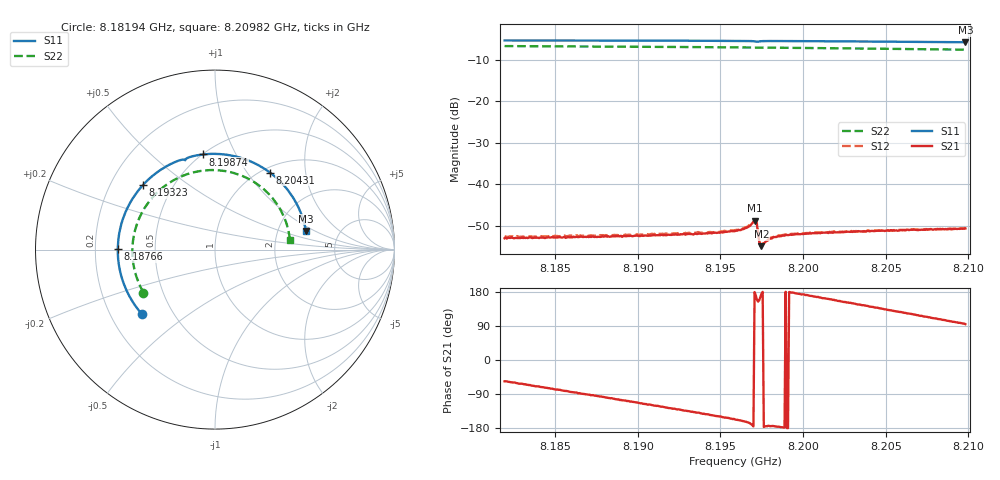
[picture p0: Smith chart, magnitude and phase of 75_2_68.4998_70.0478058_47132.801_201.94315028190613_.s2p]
#  HZ  S  RI  R  50.00
! Rohde & Schwarz Vector Network Analyzer
! Rohde-Schwarz,ZNB20-2Port,1311601062101988,3.16
! Created: UTC 3/20/2024, 5:07:04 PM
! freq[Hz]  re:S11  im:S11  re:S21  im:S21  re:S12  im:S12  re:S22  im:S22
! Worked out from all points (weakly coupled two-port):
!   401 points, 8.18194 GHz to 8.20982 GHz, reference 50 ohm
!   highest |S21| = -48.74 dB at 8.19706 GHz (marker M1); lowest = -54.9 dB at 8.19748 GHz (marker M2)
!   lowest |S11| = -5.7 dB at 8.20982 GHz (marker M3), VSWR 3.14, Z = 144 + j40.7 ohm
!   |S11| at or under -10 dB: nowhere
!   |S22| runs from -7.5 to -6.7 dB; largest |S21 - S12| = 0.00018
!   S11 on the Smith chart (normalised r, x): 8.18194 GHz: 0.33, -0.34; 8.18766 GHz: 0.30, +0.00; 8.19323 GHz: 0.34, +0.34; 8.19874 GHz: 0.50, +0.75; 8.20431 GHz: 1.08, +1.29; 8.20982 GHz: 2.88, +0.81
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8.181942e9  -0.4059 -0.3612  0.00125 -0.00186  0.0013 -0.00199  -0.3987 -0.2392
8.184381e9  -0.4968 -0.2189  0.000662 -0.00216  0.00068 -0.00227  -0.4484 -0.1132
8.186611e9  -0.5377 -0.0696  4.37e-05 -0.00235  7.05e-06 -0.00238  -0.4602 0.00997
8.187657e9  -0.5419 0.00337  -0.000232 -0.00233  -0.000312 -0.00238  -0.4541 0.0678
8.189469e9  -0.5256 0.1288  -0.000764 -0.00226  -0.000833 -0.00233  -0.4266 0.1644
8.191281e9  -0.4803 0.2472  -0.0013 -0.00208  -0.00141 -0.00212  -0.3782 0.2527
8.193232e9  -0.4019 0.3592  -0.00184 -0.00174  -0.00195 -0.00173  -0.3058 0.3334
8.19588e9  -0.2546 0.4727  -0.00252 -0.00108  -0.00261 -0.00106  -0.18 0.4109
8.196507e9  -0.2134 0.4917  -0.00285 -0.000904  -0.00293 -0.000792  -0.1468 0.4226
8.197065e9  -0.172 0.5011  -0.00366 5.27e-05  -0.00372 0.00022  -0.1163 0.431
8.197134e9  -0.1677 0.4994  -0.00358 0.000602  -0.00361 0.000754  -0.1125 0.4319
8.197413e9  -0.1603 0.5065  -0.00177 0.00043  -0.00179 0.000484  -0.0975 0.4352
8.197483e9  -0.1554 0.5096  -0.00179 0.000171  -0.00185 0.000245  -0.0935 0.436
8.197552e9  -0.1503 0.512  -0.00185 3.66e-06  -0.00192 0.000109  -0.0897 0.4367
8.19811e9  -0.1103 0.5234  -0.00222 -0.000225  -0.00231 -0.000143  -0.0583 0.441
8.198737e9  -0.0657 0.5304  -0.00241 -0.000107  -0.00245 -1.96e-06  -0.0229 0.4431
8.200549e9  0.0623 0.5288  -0.00254 0.000503  -0.00251 0.000617  0.0796 0.4331
8.202431e9  0.1907 0.4946  -0.00237 0.00119  -0.00236 0.00128  0.181 0.3974
8.204312e9  0.3062 0.4293  -0.00206 0.00181  -0.00204 0.00189  0.2713 0.337
8.205218e9  0.3552 0.3876  -0.00184 0.00207  -0.00176 0.00215  0.3089 0.2999
8.207587e9  0.4558 0.2536  -0.00111 0.00265  -0.00104 0.00267  0.3842 0.1828
8.209817e9  0.5067 0.1033  -0.000234 0.00294  -0.000174 0.00295  0.4174 0.0538
